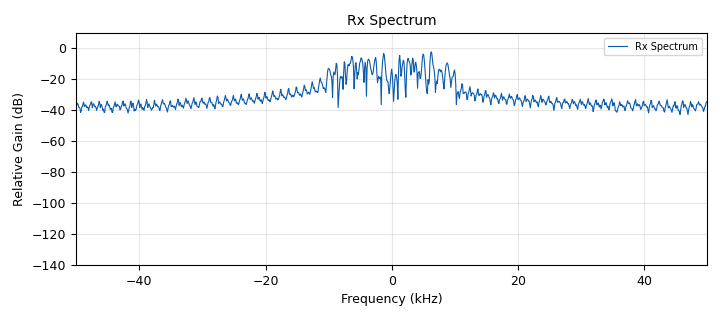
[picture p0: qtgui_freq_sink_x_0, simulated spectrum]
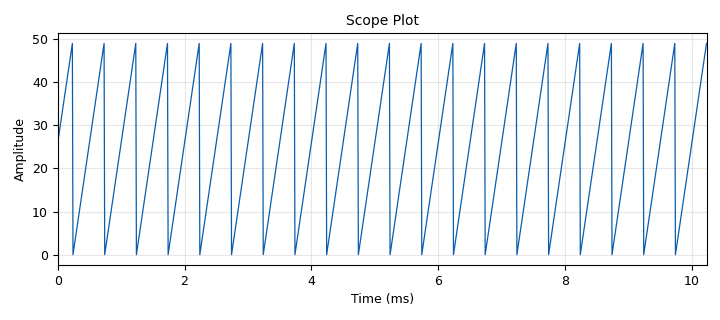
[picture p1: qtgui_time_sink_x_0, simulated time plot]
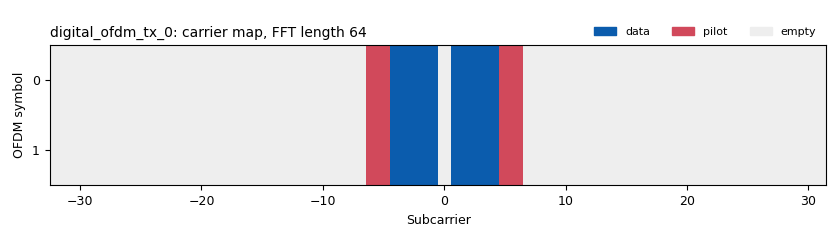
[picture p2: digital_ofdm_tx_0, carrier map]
options:
  parameters:
    author: MA
    category: Custom
    comment: |-
      To simulate error from multipath and antenuations
      turn debug if you require this feature
      BER needs to be configured
    description: Transmit a pre-defined signal (a complex sine) as OFDM packets.
    generate_options: qt_gui
    id: BER_Data_Blocks_OFDM
    output_language: python
    title: BER_Data_Blocks_OFDM
  states: {}

blocks:
- name: fft_len
  id: variable
  parameters:
    value: '64'
  states: {}
- name: freq_offset
  id: variable_qtgui_range
  parameters:
    label: Frequency Offset (Multiples of Sub-carrier spacing)
    start: '-3'
    step: '.01'
    stop: '3'
    value: '0'
  states: {}
- name: len_tag_key
  id: variable
  parameters:
    value: '"packet_len"'
  states: {}
- name: noise_voltage
  id: variable_qtgui_range
  parameters:
    label: Noise Amplitude
    start: '0'
    step: '.01'
    stop: '1'
    value: '0.1'
  states: {}
- name: packet_len
  id: variable
  parameters:
    value: '50'
  states: {}
- name: samp_rate
  id: variable
  parameters:
    value: '100000'
  states: {}
- name: BER_Data_Blocks_OFDM1
  id: qtgui_number_sink
  parameters:
    autoscale: 'True'
    graph_type: qtgui.NUM_GRAPH_HORIZ
    name: BER_Data_Blocks_OFDM1
    type: float
  states: {}
- name: blocks_stream_to_tagged_stream_0
  id: blocks_stream_to_tagged_stream
  parameters:
    len_tag_key: len_tag_key
    packet_len: packet_len
    type: byte
  states: {}
- name: blocks_tag_debug_0
  id: blocks_tag_debug
  parameters:
    display: 'False'
    name: Rx Packets
    type: byte
  states: {}
- name: blocks_throttle_0
  id: blocks_throttle
  parameters:
    samples_per_second: samp_rate
    type: complex
  states: {}
- name: blocks_uchar_to_float_0
  id: blocks_uchar_to_float
  parameters: {}
  states: {}
- name: blocks_vector_source_x_0
  id: blocks_vector_source_x
  parameters:
    repeat: 'True'
    tags: ()
    type: byte
    vector: range(packet_len)
  states: {}
- name: channels_channel_model_0
  id: channels_channel_model
  parameters:
    block_tags: 'True'
    epsilon: '1.0'
    freq_offset: freq_offset * 1.0/fft_len
    noise_voltage: noise_voltage
    seed: '0'
    taps: 1.0 + 1.0j
  states: {}
- name: digital_ofdm_rx_0
  id: digital_ofdm_rx
  parameters:
    cp_len: fft_len//4
    fft_len: fft_len
    header_mod: '"BPSK"'
    occupied_carriers: ((-4,-3,-2,-1,1,2,3,4),)
    packet_len_key: '"rx_len"'
    payload_mod: '"QPSK"'
    pilot_carriers: ((-6,-5,5,6),)
    pilot_symbols: ((-1,1,-1,1),)
    sync_word1: None
    sync_word2: None
  states: {}
- name: digital_ofdm_tx_0
  id: digital_ofdm_tx
  parameters:
    cp_len: fft_len//4
    fft_len: fft_len
    header_mod: '"BPSK"'
    occupied_carriers: ((-4,-3,-2,-1,1,2,3,4),)
    packet_len_key: len_tag_key
    payload_mod: '"QPSK"'
    pilot_carriers: ((-6,-5,5,6),)
    pilot_symbols: ((-1,1,-1,1),)
    rolloff: '0'
    sync_word1: None
    sync_word2: None
  states: {}
- name: fec_ber_bf_0
  id: fec_ber_bf
  parameters:
    berminerrors: '1'
    test_mode: 'False'
  states: {}
- name: qtgui_freq_sink_x_0
  id: qtgui_freq_sink_x
  parameters:
    bw: samp_rate
    fc: '0'
    fftsize: '1024'
    label1: Rx Spectrum
    name: Rx Spectrum
    showports: 'True'
    type: complex
  states: {}
- name: qtgui_time_sink_x_0
  id: qtgui_time_sink_x
  parameters:
    autoscale: 'True'
    label1: ''
    name: Scope Plot
    size: '1024'
    srate: samp_rate
    type: float
  states: {}

connections:
- [blocks_stream_to_tagged_stream_0, '0', digital_ofdm_tx_0, '0']
- [blocks_throttle_0, '0', digital_ofdm_rx_0, '0']
- [blocks_throttle_0, '0', qtgui_freq_sink_x_0, '0']
- [blocks_uchar_to_float_0, '0', qtgui_time_sink_x_0, '0']
- [blocks_vector_source_x_0, '0', blocks_stream_to_tagged_stream_0, '0']
- [blocks_vector_source_x_0, '0', fec_ber_bf_0, '0']
- [channels_channel_model_0, '0', blocks_throttle_0, '0']
- [digital_ofdm_rx_0, '0', blocks_tag_debug_0, '0']
- [digital_ofdm_rx_0, '0', blocks_uchar_to_float_0, '0']
- [digital_ofdm_rx_0, '0', fec_ber_bf_0, '1']
- [digital_ofdm_tx_0, '0', channels_channel_model_0, '0']
- [fec_ber_bf_0, '0', BER_Data_Blocks_OFDM1, '0']

metadata:
  file_format: 1
